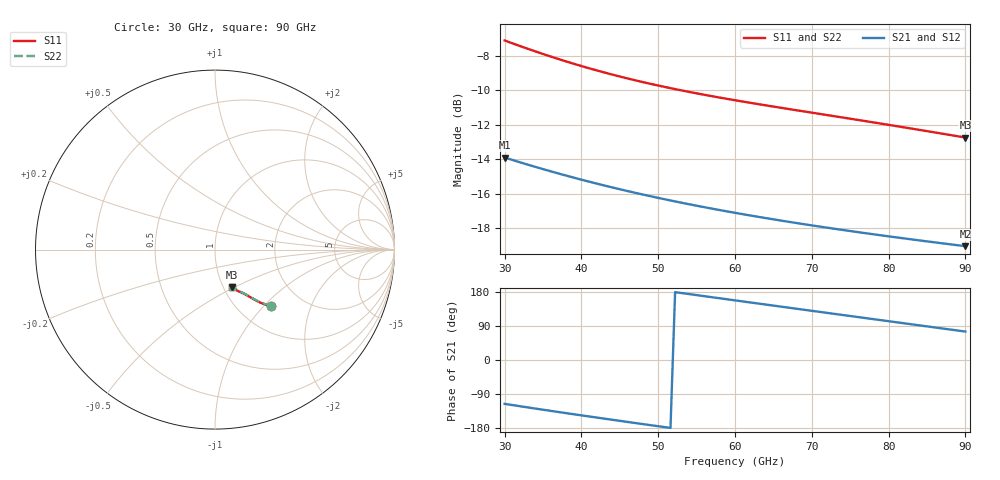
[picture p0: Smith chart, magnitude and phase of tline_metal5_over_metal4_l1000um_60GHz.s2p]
#  GHZ S DB R 50
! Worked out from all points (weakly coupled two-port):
!   101 points, 30 GHz to 90 GHz, reference 50 ohm
!   highest |S21| = -13.91 dB at 30 GHz (marker M1); lowest = -19.1 dB at 90 GHz (marker M2)
!   lowest |S11| = -12.7 dB at 90 GHz (marker M3), VSWR 1.60, Z = 54.8 - j24.3 ohm
!   |S11| at or under -10 dB: 52.97 GHz to end of sweep
!   |S22| runs from -12.7 to -7.1 dB; largest |S21 - S12| = 2.1e-13
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30  -7.11 -45.5  -13.91 -115.7  -13.91 -115.7  -7.11 -45.3
32.4  -7.49 -47.0  -14.24 -123.2  -14.24 -123.2  -7.49 -46.8
34.8  -7.86 -48.3  -14.55 -130.6  -14.55 -130.6  -7.86 -48.1
37.2  -8.21 -49.4  -14.86 -137.8  -14.86 -137.8  -8.21 -49.2
40.2  -8.62 -50.7  -15.22 -146.7  -15.22 -146.7  -8.62 -50.4
42.6  -8.92 -51.5  -15.49 -153.6  -15.49 -153.6  -8.92 -51.2
45  -9.20 -52.3  -15.75 -160.5  -15.75 -160.5  -9.20 -52.0
47.4  -9.46 -53.0  -16.00 -167.4  -16.00 -167.4  -9.46 -52.7
50.4  -9.76 -53.9  -16.29 -175.9  -16.29 -175.9  -9.76 -53.5
52.8  -9.98 -54.5  -16.51 177.4  -16.51 177.4  -9.98 -54.2
55.2  -10.19 -55.2  -16.72 170.7  -16.72 170.7  -10.19 -54.8
60  -10.58 -56.5  -17.12 157.4  -17.12 157.4  -10.57 -56.2
63  -10.80 -57.4  -17.35 149.1  -17.35 149.1  -10.79 -57.0
65.4  -10.97 -58.2  -17.53 142.5  -17.53 142.5  -10.97 -57.8
67.8  -11.15 -58.9  -17.70 135.9  -17.70 135.9  -11.14 -58.5
70.2  -11.31 -59.7  -17.86 129.3  -17.86 129.3  -11.31 -59.2
72.6  -11.48 -60.5  -18.02 122.7  -18.02 122.7  -11.47 -60.0
75  -11.65 -61.2  -18.18 116.1  -18.18 116.1  -11.64 -60.8
77.4  -11.82 -62.0  -18.33 109.5  -18.33 109.5  -11.81 -61.5
80.4  -12.04 -63.0  -18.51 101.3  -18.51 101.3  -12.03 -62.4
85.2  -12.39 -64.4  -18.79 88.2  -18.79 88.2  -12.38 -63.8
90  -12.75 -65.8  -19.06 75.1  -19.06 75.1  -12.74 -65.1
